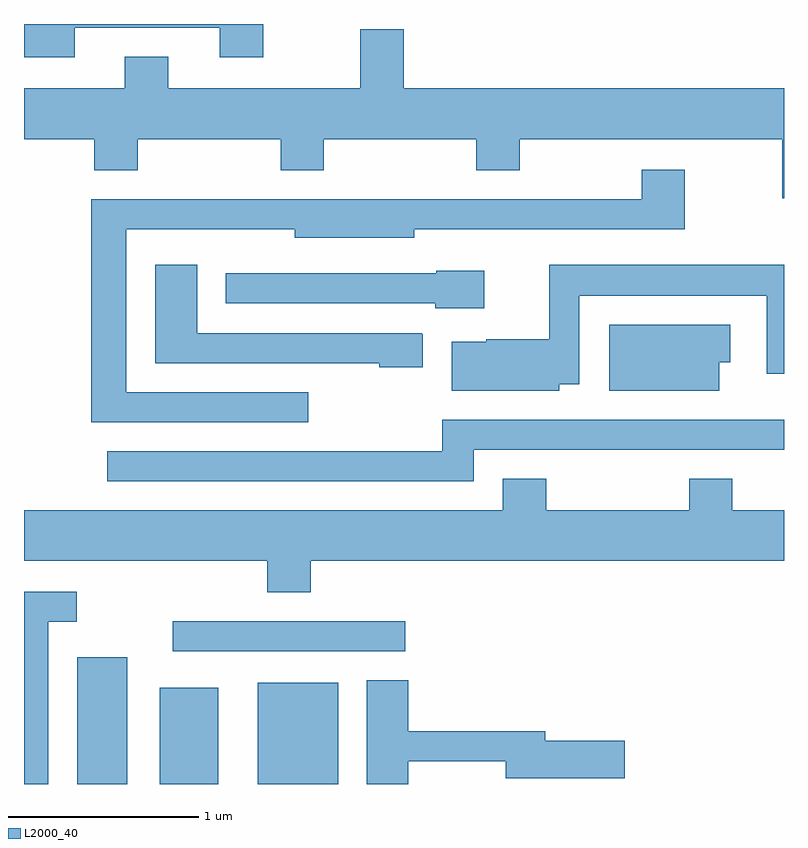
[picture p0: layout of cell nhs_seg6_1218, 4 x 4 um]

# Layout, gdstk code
import gdstk
lib = gdstk.Library(unit=1e-6, precision=1e-09)
def R(c, l, rs):  # rectangles x0, y0, x1, y1
    for r in rs: c.add(gdstk.rectangle(r[:2], r[2:], *l))
def P(c, l, *ps):  # polygons
    for p in ps: c.add(gdstk.Polygon(p, *l))
L2000_40 = (2000, 40)

nhs_seg6_1218 = lib.new_cell('nhs_seg6_1218')
R(nhs_seg6_1218, L2000_40, [(221.891,1582.162,222.154,1582.829), (222.326,1582.162,222.634,1582.669), (222.841,1582.162,223.264,1582.694), (222.393,1582.861,223.618,1583.019)])
P(nhs_seg6_1218, L2000_40, [(221.879,1586.141),(222.641,1586.141),(222.641,1585.986),(222.869,1585.986),(222.869,1586.162),(221.611,1586.162),(221.611,1585.986),(221.879,1585.986)],
  [(225.611,1585.824),(223.609,1585.824),(223.609,1586.134),(223.381,1586.134),(223.381,1585.824),(222.369,1585.824),(222.369,1585.989),(222.141,1585.989),(222.141,1585.824),(221.611,1585.824),(221.611,1585.556),(221.981,1585.556),(221.981,1585.391),(222.209,1585.391),(222.209,1585.556),(222.961,1585.556),(222.961,1585.391),(223.189,1585.391),(223.189,1585.556),(223.991,1585.556),(223.991,1585.391),(224.219,1585.391),(224.219,1585.556),(225.601,1585.556),(225.601,1585.246),(225.611,1585.246)],
  [(223.108,1584.224),(222.149,1584.224),(222.149,1585.081),(223.036,1585.081),(223.036,1585.036),(223.664,1585.036),(223.664,1585.081),(225.089,1585.081),(225.089,1585.394),(224.861,1585.394),(224.861,1585.239),(221.966,1585.239),(221.966,1584.066),(223.108,1584.066)],
  [(224.429,1584.266),(224.534,1584.266),(224.534,1584.731),(225.521,1584.731),(225.521,1584.321),(225.611,1584.321),(225.611,1584.894),(224.376,1584.894),(224.376,1584.504),(224.045,1584.504),(224.045,1584.489),(223.861,1584.489),(223.861,1584.231),(224.429,1584.231)],
  [(223.709,1584.529),(223.704,1584.534),(222.524,1584.534),(222.524,1584.894),(222.301,1584.894),(222.301,1584.376),(223.481,1584.376),(223.481,1584.356),(223.709,1584.356)],
  [(224.034,1584.864),(223.78,1584.864),(223.78,1584.849),(222.673,1584.849),(222.673,1584.691),(223.776,1584.691),(223.776,1584.666),(224.034,1584.666)],
  [(225.269,1584.381),(225.329,1584.381),(225.329,1584.579),(224.691,1584.579),(224.691,1584.231),(225.269,1584.231)],
  [(223.979,1583.921),(225.611,1583.921),(225.611,1584.079),(223.811,1584.079),(223.811,1583.914),(222.048,1583.914),(222.048,1583.756),(223.979,1583.756)],
  [(223.119,1583.336),(225.611,1583.336),(225.611,1583.604),(225.339,1583.604),(225.339,1583.769),(225.111,1583.769),(225.111,1583.604),(224.359,1583.604),(224.359,1583.769),(224.131,1583.769),(224.131,1583.604),(221.611,1583.604),(221.611,1583.336),(222.891,1583.336),(222.891,1583.171),(223.119,1583.171)],
  [(221.739,1583.016),(221.888,1583.016),(221.888,1583.174),(221.611,1583.174),(221.611,1582.162),(221.739,1582.162)],
  [(223.634,1582.281),(224.146,1582.281),(224.146,1582.191),(224.774,1582.191),(224.774,1582.389),(224.354,1582.389),(224.354,1582.439),(223.634,1582.439),(223.634,1582.709),(223.416,1582.709),(223.416,1582.162),(223.634,1582.162)])

lib.write_gds('nhs_seg6_1218.gds')
